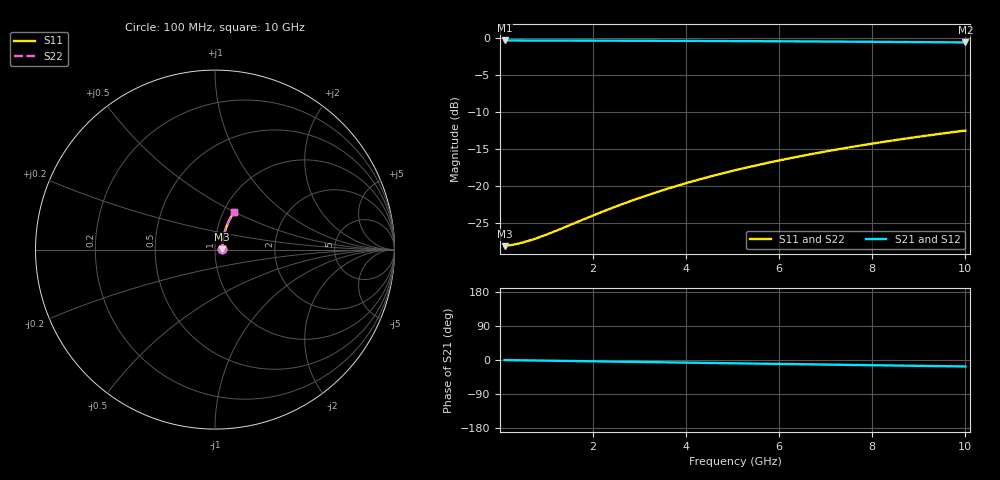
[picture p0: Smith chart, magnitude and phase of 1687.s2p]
# Hz S RI R 50.00
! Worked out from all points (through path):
!   100 points, 100 MHz to 10 GHz, reference 50 ohm
!   highest |S21| = -0.34 dB at 100 MHz (marker M1); lowest = -0.6 dB at 10 GHz (marker M2)
!   group delay of S21, straight-line fit = 4.75 ps
!   lowest |S11| = -28.2 dB at 100 MHz (marker M3), VSWR 1.08, Z = 54 + j0.248 ohm
!   |S11| at or under -10 dB: start of sweep to end of sweep
!   |S22| runs from -28.2 to -12.5 dB; largest |S21 - S12| = 0
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1e8  0.0388 0.00229  0.9612 -0.00292  0.9612 -0.00292  0.0388 0.00229
3e8  0.0393 0.00685  0.9607 -0.00876  0.9607 -0.00876  0.0393 0.00685
4e8  0.0395 0.00914  0.9605 -0.0117  0.9605 -0.0117  0.0395 0.00914
6e8  0.0399 0.0137  0.9601 -0.0175  0.9601 -0.0175  0.0399 0.0137
8e8  0.0402 0.0182  0.9597 -0.0233  0.9597 -0.0233  0.0402 0.0182
1.2e9  0.0411 0.0273  0.9589 -0.0349  0.9589 -0.0349  0.0411 0.0273
1.8e9  0.0426 0.0409  0.9573 -0.0523  0.9573 -0.0523  0.0426 0.0409
2.2e9  0.0439 0.0499  0.956 -0.0639  0.956 -0.0639  0.0439 0.0499
2.6e9  0.0454 0.0589  0.9545 -0.0754  0.9545 -0.0754  0.0454 0.0589
3e9  0.047 0.0678  0.9528 -0.0868  0.9528 -0.0868  0.047 0.0678
3.4e9  0.0489 0.0767  0.9508 -0.0983  0.9508 -0.0983  0.0489 0.0767
3.8e9  0.051 0.0855  0.9487 -0.1096  0.9487 -0.1096  0.051 0.0855
4.2e9  0.0532 0.0942  0.9464 -0.1209  0.9464 -0.1209  0.0532 0.0942
4.6e9  0.0557 0.1029  0.9438 -0.1321  0.9438 -0.1321  0.0557 0.1029
5.1e9  0.0591 0.1136  0.9404 -0.146  0.9404 -0.146  0.0591 0.1136
5.5e9  0.062 0.1221  0.9374 -0.157  0.9374 -0.157  0.062 0.1221
5.9e9  0.0651 0.1305  0.9342 -0.168  0.9342 -0.168  0.0651 0.1305
6.7e9  0.0719 0.147  0.9272 -0.1896  0.9272 -0.1896  0.0719 0.147
7.5e9  0.0794 0.1631  0.9194 -0.2108  0.9194 -0.2108  0.0794 0.1631
8.4e9  0.0886 0.1806  0.9099 -0.234  0.9099 -0.234  0.0886 0.1806
9.2e9  0.0976 0.1956  0.9006 -0.2542  0.9006 -0.2542  0.0976 0.1956
1e10  0.1071 0.2101  0.8907 -0.2738  0.8907 -0.2738  0.1071 0.2101
